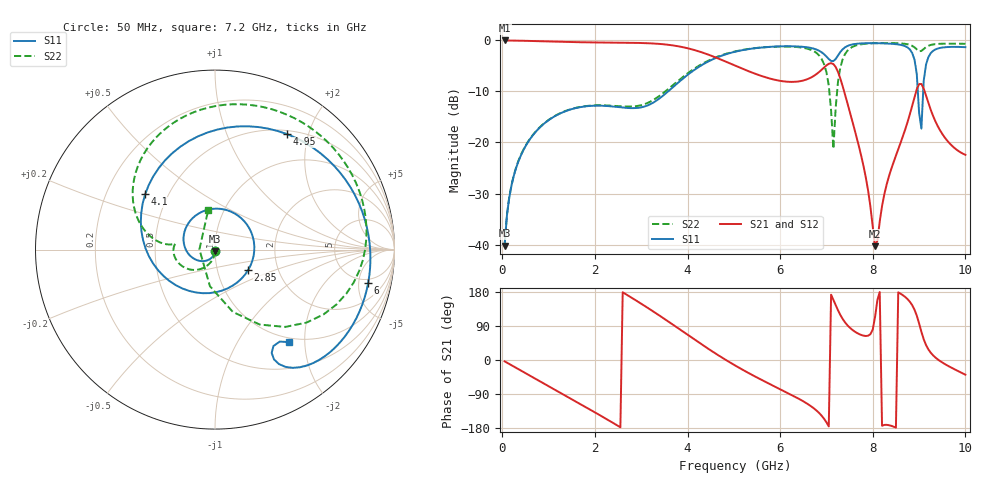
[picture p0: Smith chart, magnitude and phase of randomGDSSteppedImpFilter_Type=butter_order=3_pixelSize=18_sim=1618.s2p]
! freq	dB(S11)	phase(S11)	dB(S12)	phase(S12)
!  dB(S21)	phase(S21)	dB(S22)	phase(S22)
!S-par simulation data
#  GHz  S  DB  R 50
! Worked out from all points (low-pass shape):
!   200 points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, 50 MHz to 10 GHz, reference 50 ohm
!   highest |S21| = -0.02 dB at 50 MHz (marker M1); lowest = -40.3 dB at 8.05 GHz (marker M2)
!   |S21| within 3 dB of the highest: start of sweep to 4.515 GHz
!   lowest |S11| = -40.2 dB at 50 MHz (marker M3), VSWR 1.02, Z = 50.1 - j0.978 ohm
!   |S11| at or under -10 dB: start of sweep to 3.58 GHz; 8.973 GHz to 9.089 GHz (116 MHz wide, 1.28 % of centre)
!   |S22| runs from -40.1 to -0.5 dB; largest |S21 - S12| = 0
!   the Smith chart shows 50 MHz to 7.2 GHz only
!   S11 on the Smith chart (normalised r, x): 50 MHz: 1.00, -0.02; 2.85 GHz: 1.41, -0.34; 4.1 GHz: 0.37, +0.30; 4.95 GHz: 0.55, +1.67; 6 GHz: 4.26, -6.65; 7.2 GHz: 0.92, -1.68
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0.05  -40.19 -86.1  -0.02 -3.5  -0.02 -3.5  -40.11 -84.0
0.5  -20.75 -135.5  -0.09 -34.7  -0.09 -34.7  -20.67 -114.1
1.75  -12.98 104.6  -0.38 -120.7  -0.38 -120.7  -12.93 -167.2
2.85  -13.27 -31.7  -0.49 160.0  -0.49 160.0  -12.92 171.6
3.4  -11.33 -121.8  -0.70 116.8  -0.70 116.8  -10.83 173.4
4.1  -6.08 141.6  -1.77 58.3  -1.77 58.3  -5.82 152.1
4.95  -2.40 58.0  -4.64 -8.9  -4.64 -8.9  -2.33 101.9
5.05  -2.18 50.1  -5.03 -16.0  -5.03 -16.0  -2.12 95.7
6  -1.18 -12.2  -7.93 -77.1  -7.93 -77.1  -1.21 37.6
6.7  -1.56 -49.3  -7.11 -125.0  -7.11 -125.0  -1.99 -13.2
7  -3.17 -61.8  -4.90 -164.6  -4.90 -164.6  -6.26 -59.1
7.15  -4.06 -54.8  -4.65 158.7  -4.65 158.7  -21.23 179.2
7.2  -3.63 -51.5  -5.23 144.5  -5.23 144.5  -13.09 99.9
7.55  -0.81 -66.6  -15.54 80.5  -15.54 80.5  -1.33 13.9
8.05  -0.55 -91.8  -40.30 114.2  -40.30 114.2  -0.54 -24.3
8.35  -0.64 -106.5  -26.60 -172.1  -26.60 -172.1  -0.52 -39.7
8.85  -2.44 -150.5  -12.85 144.9  -12.85 144.9  -1.07 -63.6
9  -14.13 171.2  -8.56 96.7  -8.56 96.7  -2.12 -65.6
9.05  -17.27 -58.6  -8.54 74.4  -8.54 74.4  -2.08 -63.2
9.1  -7.89 -66.2  -9.45 54.7  -9.45 54.7  -1.70 -62.5
9.25  -2.52 -97.4  -13.56 19.5  -13.56 19.5  -0.90 -68.2
10  -1.33 -149.2  -22.42 -38.8  -22.42 -38.8  -0.68 -96.8
